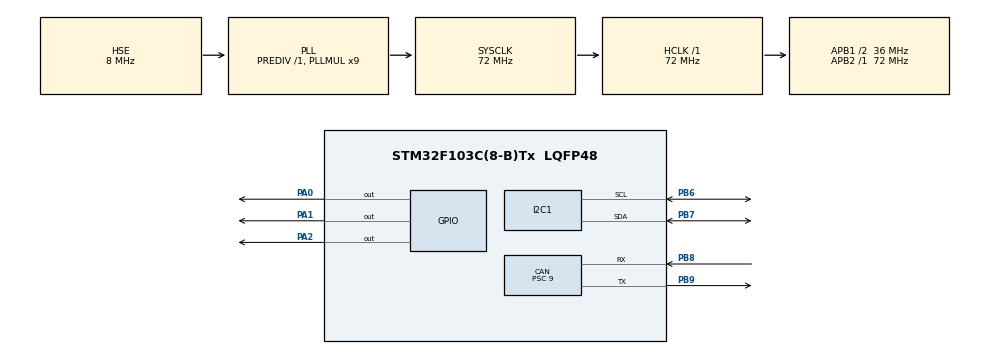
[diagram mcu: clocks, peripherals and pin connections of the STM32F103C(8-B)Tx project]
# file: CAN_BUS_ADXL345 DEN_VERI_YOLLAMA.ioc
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CAN.BS1=CAN_BS1_10TQ
CAN.BS2=CAN_BS2_5TQ
CAN.CalculateBaudRate=250000
CAN.CalculateTimeBit=4000
CAN.CalculateTimeQuantum=250.0
CAN.Prescaler=9
I2C1.I2C_Mode=I2C_Fast
Mcu.Family=STM32F1
Mcu.Name=STM32F103C(8-B)Tx
Mcu.Package=LQFP48
NVIC.PriorityGroup=NVIC_PRIORITYGROUP_4
PA0-WKUP.Signal=GPIO_Output
PA1.Signal=GPIO_Output
PA13.Mode=Serial_Wire
PA13.Signal=SYS_JTMS-SWDIO
PA14.Mode=Serial_Wire
PA14.Signal=SYS_JTCK-SWCLK
PA2.Signal=GPIO_Output
PB6.Mode=I2C
PB6.Signal=I2C1_SCL
PB7.Mode=I2C
PB7.Signal=I2C1_SDA
PB8.Mode=CAN_Activate
PB8.Signal=CAN_RX
PB9.Mode=CAN_Activate
PB9.Signal=CAN_TX
PD0-OSC_IN.Mode=HSE-External-Oscillator
PD0-OSC_IN.Signal=RCC_OSC_IN
PD1-OSC_OUT.Mode=HSE-External-Oscillator
PD1-OSC_OUT.Signal=RCC_OSC_OUT
ProjectManager.HeapSize=0x200
ProjectManager.StackSize=0x400
ProjectManager.TargetToolchain=STM32CubeIDE
RCC.AHBFreq_Value=72000000
RCC.APB1CLKDivider=RCC_HCLK_DIV2
RCC.APB1Freq_Value=36000000
RCC.APB1TimFreq_Value=72000000
RCC.APB2Freq_Value=72000000
RCC.APB2TimFreq_Value=72000000
RCC.HCLKFreq_Value=72000000
RCC.PLLMUL=RCC_PLL_MUL9
RCC.PLLSourceVirtual=RCC_PLLSOURCE_HSE
RCC.SYSCLKFreq_VALUE=72000000
RCC.SYSCLKSource=RCC_SYSCLKSOURCE_PLLCLK
RCC.USBFreq_Value=72000000
board=custom

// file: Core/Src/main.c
/* USER CODE BEGIN Header */
/**
  ******************************************************************************
  * @file           : main.c
  * @brief          : Main program body
  ******************************************************************************
  * @attention
  *
  * Copyright (c) 2024 STMicroelectronics.
  * All rights reserved.
  *
  * This software is licensed under terms that can be found in the LICENSE file
  * in the root directory of this software component.
  * If no LICENSE file comes with this software, it is provided AS-IS.
  *
  ******************************************************************************
  */
/* USER CODE END Header */
#include "main.h"

/* USER CODE BEGIN Includes */

#define ADXL345_I2C_SLAVE_ADDRESS 0x53 <<1

/* USER CODE END Includes */

CAN_HandleTypeDef hcan;

I2C_HandleTypeDef hi2c1;

/* USER CODE BEGIN PV */

CAN_TxHeaderTypeDef pTxHeader;

CAN_FilterTypeDef sFilterConfig;

uint32_t pTxmailbox;
uint8_t dizi[3];
uint8_t rCount;

uint8_t i;
uint8_t myDatas[6];
int16_t x,y,z;

/* USER CODE END PV */

void SystemClock_Config(void);
static void MX_GPIO_Init(void);
static void MX_CAN_Init(void);
static void MX_I2C1_Init(void);
/* USER CODE BEGIN PFP */

void Scan_i2cAdress();

void ADXL345_Write(uint8_t wRegister, uint8_t value );

void ADXL345_Read(uint8_t rRegister , uint8_t NumberOfBytes);

void ADXL345_Init();

/* USER CODE END PFP */

int main(void)
{

  /* MCU Configuration--------------------------------------------------------*/

  /* Reset of all peripherals, Initializes the Flash interface and the Systick. */
  HAL_Init();

  /* Configure the system clock */
  SystemClock_Config();

  /* Initialize all configured peripherals */
  MX_GPIO_Init();
  MX_CAN_Init();
  MX_I2C1_Init();
  /* USER CODE BEGIN 2 */

    HAL_CAN_Start(&hcan);
    HAL_CAN_ActivateNotification(&hcan, CAN_IT_RX_FIFO0_MSG_PENDING);

    pTxHeader.DLC=3;
    pTxHeader.IDE=CAN_ID_STD;
    pTxHeader.RTR=CAN_RTR_DATA;
    pTxHeader.StdId=0x0101;

    sFilterConfig.FilterActivation=ENABLE;
    sFilterConfig.FilterBank=0;
    sFilterConfig.FilterFIFOAssignment=CAN_FILTER_FIFO0;
    sFilterConfig.FilterIdHigh=0x0303<<5;
    sFilterConfig.FilterIdLow=0x0303<<5;
    sFilterConfig.FilterMaskIdHigh= 0xFFFF<<5;
    sFilterConfig.FilterMaskIdLow= 0xFFFF<<5;
    sFilterConfig.FilterMode=CAN_FILTERMODE_IDMASK;
    sFilterConfig.FilterScale=CAN_FILTERSCALE_32BIT;

    HAL_CAN_ConfigFilter(&hcan, &sFilterConfig);

    Scan_i2cAdress();
    ADXL345_Init();

  /* USER CODE END 2 */

  /* Infinite loop */
  while (1)
  {

    /* USER CODE BEGIN 3 */

	      ADXL345_Read(0x32, 6);

	  	  x=(myDatas[1] <<8)  | myDatas[0];
	  	  y=(myDatas[3] <<8)  | myDatas[2];
	  	  z=(myDatas[5] <<8)  | myDatas[4];

	  	  HAL_Delay(10);

	  	dizi[0]=x;
	  	dizi[1]=y;
	    dizi[2]=z;

	  	HAL_CAN_AddTxMessage(&hcan, &pTxHeader, dizi, &pTxmailbox);

  }
  /* USER CODE END 3 */
}

void SystemClock_Config(void)
{
  RCC_OscInitTypeDef RCC_OscInitStruct = {0};
  RCC_ClkInitTypeDef RCC_ClkInitStruct = {0};

  /** Initializes the RCC Oscillators according to the specified parameters
  * in the RCC_OscInitTypeDef structure.
  */
  RCC_OscInitStruct.OscillatorType = RCC_OSCILLATORTYPE_HSE;
  RCC_OscInitStruct.HSEState = RCC_HSE_ON;
  RCC_OscInitStruct.HSEPredivValue = RCC_HSE_PREDIV_DIV1;
  RCC_OscInitStruct.HSIState = RCC_HSI_ON;
  RCC_OscInitStruct.PLL.PLLState = RCC_PLL_ON;
  RCC_OscInitStruct.PLL.PLLSource = RCC_PLLSOURCE_HSE;
  RCC_OscInitStruct.PLL.PLLMUL = RCC_PLL_MUL9;
  if (HAL_RCC_OscConfig(&RCC_OscInitStruct) != HAL_OK)
  {
    Error_Handler();
  }

  /** Initializes the CPU, AHB and APB buses clocks
  */
  RCC_ClkInitStruct.ClockType = RCC_CLOCKTYPE_HCLK|RCC_CLOCKTYPE_SYSCLK
                              |RCC_CLOCKTYPE_PCLK1|RCC_CLOCKTYPE_PCLK2;
  RCC_ClkInitStruct.SYSCLKSource = RCC_SYSCLKSOURCE_PLLCLK;
  RCC_ClkInitStruct.AHBCLKDivider = RCC_SYSCLK_DIV1;
  RCC_ClkInitStruct.APB1CLKDivider = RCC_HCLK_DIV2;
  RCC_ClkInitStruct.APB2CLKDivider = RCC_HCLK_DIV1;

  if (HAL_RCC_ClockConfig(&RCC_ClkInitStruct, FLASH_LATENCY_2) != HAL_OK)
  {
    Error_Handler();
  }
}

static void MX_CAN_Init(void)
{

  hcan.Instance = CAN1;
  hcan.Init.Prescaler = 9;
  hcan.Init.Mode = CAN_MODE_NORMAL;
  hcan.Init.SyncJumpWidth = CAN_SJW_1TQ;
  hcan.Init.TimeSeg1 = CAN_BS1_10TQ;
  hcan.Init.TimeSeg2 = CAN_BS2_5TQ;
  hcan.Init.TimeTriggeredMode = DISABLE;
  hcan.Init.AutoBusOff = DISABLE;
  hcan.Init.AutoWakeUp = DISABLE;
  hcan.Init.AutoRetransmission = DISABLE;
  hcan.Init.ReceiveFifoLocked = DISABLE;
  hcan.Init.TransmitFifoPriority = DISABLE;
  if (HAL_CAN_Init(&hcan) != HAL_OK)
  {
    Error_Handler();
  }

}

static void MX_I2C1_Init(void)
{

  hi2c1.Instance = I2C1;
  hi2c1.Init.ClockSpeed = 400000;
  hi2c1.Init.DutyCycle = I2C_DUTYCYCLE_2;
  hi2c1.Init.OwnAddress1 = 0;
  hi2c1.Init.AddressingMode = I2C_ADDRESSINGMODE_7BIT;
  hi2c1.Init.DualAddressMode = I2C_DUALADDRESS_DISABLE;
  hi2c1.Init.OwnAddress2 = 0;
  hi2c1.Init.GeneralCallMode = I2C_GENERALCALL_DISABLE;
  hi2c1.Init.NoStretchMode = I2C_NOSTRETCH_DISABLE;
  if (HAL_I2C_Init(&hi2c1) != HAL_OK)
  {
    Error_Handler();
  }

}

static void MX_GPIO_Init(void)
{
  GPIO_InitTypeDef GPIO_InitStruct = {0};

  /* GPIO Ports Clock Enable */
  __HAL_RCC_GPIOD_CLK_ENABLE();
  __HAL_RCC_GPIOA_CLK_ENABLE();
  __HAL_RCC_GPIOB_CLK_ENABLE();

  /*Configure GPIO pin Output Level */
  HAL_GPIO_WritePin(GPIOA, GPIO_PIN_0|GPIO_PIN_1|GPIO_PIN_2, GPIO_PIN_RESET);

  /*Configure GPIO pins : PA0 PA1 PA2 */
  GPIO_InitStruct.Pin = GPIO_PIN_0|GPIO_PIN_1|GPIO_PIN_2;
  GPIO_InitStruct.Mode = GPIO_MODE_OUTPUT_PP;
  GPIO_InitStruct.Pull = GPIO_NOPULL;
  GPIO_InitStruct.Speed = GPIO_SPEED_FREQ_LOW;
  HAL_GPIO_Init(GPIOA, &GPIO_InitStruct);

}

/* USER CODE BEGIN 4 */

void Scan_i2cAdress()
{

	for( i=0 ; i<=255 ; i++)
	{

		if(HAL_I2C_IsDeviceReady(&hi2c1, i, 1, 10) == HAL_OK)
			break;
	}
}
void ADXL345_Write(uint8_t wRegister, uint8_t value )
{
	uint8_t data[2]= {0};

	data[0]= wRegister;
	data[1]= value;

	HAL_I2C_Master_Transmit(&hi2c1, ADXL345_I2C_SLAVE_ADDRESS, data, 2, 100);

}

void ADXL345_Read(uint8_t rRegister , uint8_t NumberOfBytes)
{

	HAL_I2C_Mem_Read(&hi2c1, ADXL345_I2C_SLAVE_ADDRESS, rRegister, 1, myDatas, NumberOfBytes, 100);

}
void ADXL345_Init()
{
	ADXL345_Read(0x00 , 1);   //if read data is 0xe5, device is ready

	ADXL345_Write(0x2D, 0);   //reset power control all bits

	//setup

	ADXL345_Write(0x2D, 0x08); // Measure bit 1, wake up bit 0 , autosleep 0 and wakeup frequency 8hz
	ADXL345_Write(0x31, 0x01);  // +-4g range

}

/* USER CODE END 4 */

void Error_Handler(void)
{
  __disable_irq();
  while (1)
  {
  }
}
